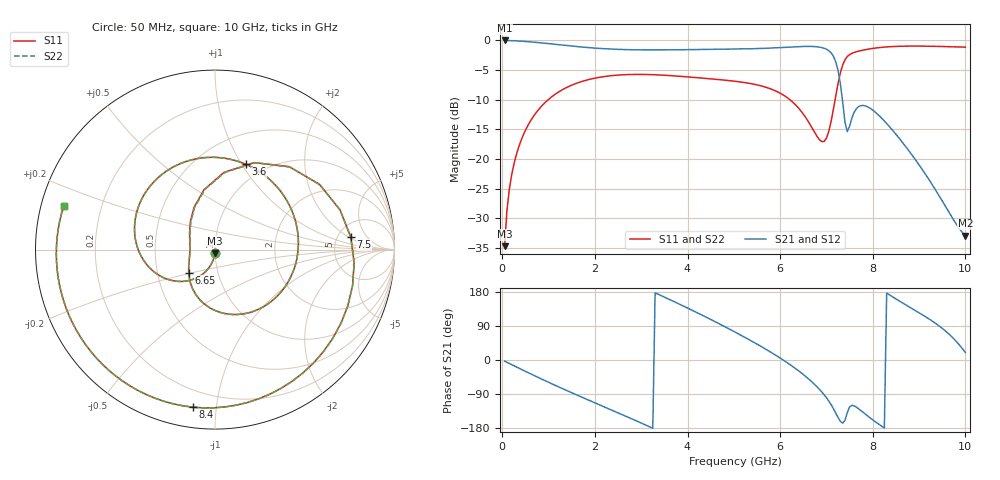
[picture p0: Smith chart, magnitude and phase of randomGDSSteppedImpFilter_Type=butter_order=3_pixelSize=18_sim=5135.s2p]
! freq	dB(S11)	phase(S11)	dB(S12)	phase(S12)
!  dB(S21)	phase(S21)	dB(S22)	phase(S22)
!S-par simulation data
#  GHz  S  DB  R 50
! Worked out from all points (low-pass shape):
!   200 points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, 50 MHz to 10 GHz, reference 50 ohm
!   highest |S21| = -0.01 dB at 50 MHz (marker M1); lowest = -32.9 dB at 10 GHz (marker M2)
!   |S21| within 3 dB of the highest: start of sweep to 7.168 GHz
!   lowest |S11| = -34.7 dB at 50 MHz (marker M3), VSWR 1.04, Z = 49.9 - j1.83 ohm
!   |S11| at or under -10 dB: start of sweep to 991.3 MHz; 6.21 GHz to 7.186 GHz (976.6 MHz wide, 14.6 % of centre)
!   |S22| runs from -34.7 to -1.0 dB; largest |S21 - S12| = 0
!   S11 on the Smith chart (normalised r, x): 50 MHz: 1.00, -0.04; 3.6 GHz: 0.82, +1.04; 6.65 GHz: 0.72, -0.19; 7.5 GHz: 6.57, +2.19; 8.4 GHz: 0.11, -0.86; 10 GHz: 0.07, +0.14
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0.05  -34.72 -92.9  -0.01 -3.1  -0.01 -3.1  -34.72 -92.9
0.2  -22.80 -102.3  -0.04 -12.1  -0.04 -12.1  -22.80 -102.3
0.5  -15.16 -120.6  -0.18 -30.0  -0.18 -30.0  -15.16 -120.6
1.1  -9.32 -155.1  -0.62 -64.5  -0.62 -64.5  -9.32 -155.1
1.75  -6.85 169.5  -1.14 -99.8  -1.14 -99.8  -6.85 169.5
2.65  -5.78 122.0  -1.55 -147.4  -1.55 -147.4  -5.78 122.0
3.4  -5.83 81.3  -1.61 171.7  -1.61 171.7  -5.83 81.4
3.6  -5.93 70.1  -1.60 160.4  -1.60 160.4  -5.92 70.1
4.4  -6.41 23.4  -1.52 113.1  -1.52 113.1  -6.41 23.5
5.05  -6.92 -16.9  -1.46 72.2  -1.46 72.2  -6.91 -16.9
6  -8.91 -82.0  -1.21 5.2  -1.21 5.2  -8.91 -82.1
6.65  -14.24 -138.9  -1.01 -53.8  -1.01 -53.8  -14.26 -139.4
6.7  -14.91 -144.6  -1.02 -59.3  -1.02 -59.3  -14.93 -145.2
7  -16.50 160.1  -1.49 -99.6  -1.49 -99.6  -16.49 158.6
7.2  -9.38 100.4  -3.59 -139.8  -3.59 -139.8  -9.35 99.3
7.35  -4.15 48.3  -10.39 -166.7  -10.39 -166.7  -4.13 47.7
7.5  -2.39 5.3  -14.45 -123.7  -14.45 -123.7  -2.38 5.0
7.85  -1.55 -49.1  -11.08 -143.9  -11.08 -143.9  -1.54 -49.2
8.35  -1.07 -94.2  -14.46 172.6  -14.46 172.6  -1.07 -94.2
8.4  -1.05 -97.9  -14.91 168.8  -14.91 168.8  -1.05 -97.9
9.2  -0.98 -149.6  -23.32 109.5  -23.32 109.5  -0.98 -149.6
10  -1.14 163.9  -32.95 19.8  -32.95 19.8  -1.14 164.0
